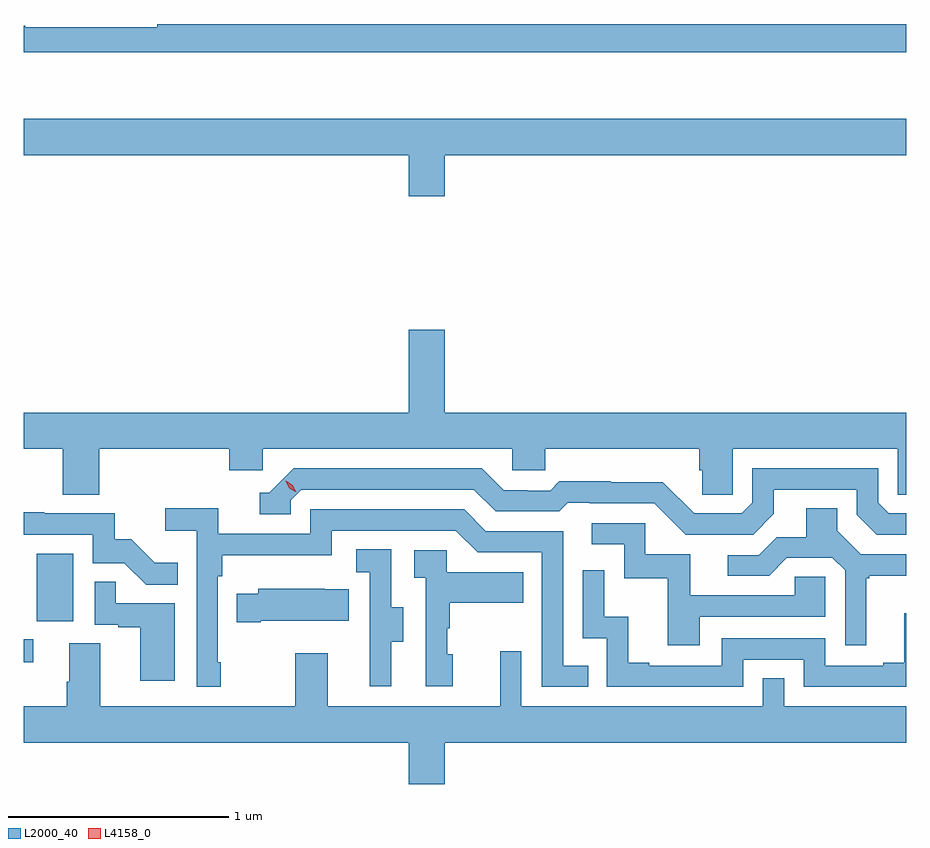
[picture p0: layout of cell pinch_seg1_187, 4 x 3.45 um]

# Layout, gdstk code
import gdstk
lib = gdstk.Library(unit=1e-6, precision=1e-09)
def R(c, l, rs):  # rectangles x0, y0, x1, y1
    for r in rs: c.add(gdstk.rectangle(r[:2], r[2:], *l))
def P(c, l, *ps):  # polygons
    for p in ps: c.add(gdstk.Polygon(p, *l))
L2000_40 = (2000, 40)
L4158_0 = (4158, 0)

pinch_seg1_187 = lib.new_cell('pinch_seg1_187')
R(pinch_seg1_187, L2000_40, [(978.447,580.068,978.49,580.173), (978.506,580.254,978.67,580.561)])
P(pinch_seg1_187, L2000_40, [(982.447,582.962),(979.052,582.962),(979.052,582.947),(978.452,582.947),(978.452,582.955),(978.447,582.955),(978.447,582.834),(982.447,582.834)],
  [(980.356,582.368),(982.447,582.368),(982.447,582.532),(978.447,582.532),(978.447,582.368),(980.192,582.368),(980.192,582.18),(980.356,582.18)],
  [(978.788,581.036),(979.379,581.036),(979.379,580.938),(979.53,580.938),(979.53,581.036),(980.661,581.036),(980.661,580.938),(980.811,580.938),(980.811,581.036),(981.509,581.036),(981.509,580.938),(981.523,580.938),(981.523,580.828),(981.66,580.828),(981.66,581.036),(982.41,581.036),(982.41,580.828),(982.447,580.828),(982.447,581.2),(980.356,581.2),(980.356,581.575),(980.192,581.575),(980.192,581.2),(978.447,581.2),(978.447,581.036),(978.623,581.036),(978.623,580.828),(978.788,580.828)],
  [(981.847,580.741),(981.847,580.851),(982.224,580.851),(982.224,580.737),(982.314,580.647),(982.447,580.647),(982.447,580.743),(982.368,580.743),(982.32,580.791),(982.32,580.947),(981.75,580.947),(981.75,580.791),(981.702,580.743),(981.486,580.743),(981.344,580.885),(981.108,580.885),(981.108,580.888),(980.875,580.888),(980.833,580.845),(980.73,580.845),(980.73,580.848),(980.623,580.848),(980.524,580.947),(979.671,580.947),(979.56,580.836),(979.517,580.836),(979.517,580.74),(979.656,580.74),(979.656,580.803),(979.704,580.851),(980.487,580.851),(980.586,580.752),(980.875,580.752),(980.914,580.791),(981.013,580.791),(981.013,580.788),(981.306,580.788),(981.447,580.647),(981.753,580.647)],
  [(982.267,580.449),(982.279,580.449),(982.279,580.46),(982.447,580.46),(982.447,580.557),(982.242,580.557),(982.135,580.664),(982.135,580.766),(981.995,580.766),(981.995,580.634),(981.86,580.634),(981.78,580.554),(981.639,580.554),(981.639,580.461),(981.826,580.461),(981.907,580.542),(982.113,580.542),(982.17,580.485),(982.17,580.146),(982.267,580.146)],
  [(979.339,580.069),(979.326,580.069),(979.326,580.457),(979.346,580.457),(979.346,580.553),(979.842,580.553),(979.842,580.665),(980.406,580.665),(980.505,580.566),(980.796,580.566),(980.796,579.957),(981.005,579.957),(981.005,580.053),(980.892,580.053),(980.892,580.662),(980.542,580.662),(980.443,580.761),(979.746,580.761),(979.746,580.65),(979.328,580.65),(979.328,580.766),(979.089,580.766),(979.089,580.664),(979.23,580.664),(979.23,579.957),(979.339,579.957)],
  [(979.145,580.519),(979.041,580.519),(978.934,580.626),(978.858,580.626),(978.858,580.743),(978.539,580.743),(978.539,580.748),(978.447,580.748),(978.447,580.647),(978.759,580.647),(978.759,580.518),(978.903,580.518),(979.001,580.42),(979.145,580.42)],
  [(981.511,580.275),(982.08,580.275),(982.08,580.455),(981.943,580.455),(981.943,580.371),(981.469,580.371),(981.469,580.557),(981.264,580.557),(981.264,580.698),(981.021,580.698),(981.021,580.602),(981.168,580.602),(981.168,580.449),(981.367,580.449),(981.367,580.146),(981.511,580.146)],
  [(980.113,580.162),(980.167,580.162),(980.167,580.317),(980.112,580.317),(980.112,580.58),(979.953,580.58),(979.953,580.477),(980.016,580.477),(980.016,580.173),(980.015,580.173),(980.015,579.96),(980.113,579.96)],
  [(980.392,580.104),(980.367,580.104),(980.367,580.223),(980.377,580.223),(980.377,580.337),(980.711,580.337),(980.711,580.477),(980.364,580.477),(980.364,580.575),(980.217,580.575),(980.217,580.451),(980.268,580.451),(980.268,579.96),(980.392,579.96)],
  [(981.708,580.08),(981.984,580.08),(981.984,579.957),(982.447,579.957),(982.447,580.291),(982.439,580.291),(982.439,580.066),(982.343,580.066),(982.343,580.053),(982.08,580.053),(982.08,580.176),(981.612,580.176),(981.612,580.053),(981.283,580.053),(981.283,580.066),(981.188,580.066),(981.188,580.274),(981.078,580.274),(981.078,580.486),(980.982,580.486),(980.982,580.176),(981.09,580.176),(981.09,579.957),(981.708,579.957)],
  [(979.132,580.335),(978.863,580.335),(978.863,580.433),(978.768,580.433),(978.768,580.239),(978.875,580.239),(978.875,580.227),(978.974,580.227),(978.974,579.984),(979.132,579.984)],
  [(979.522,580.256),(979.919,580.256),(979.919,580.399),(979.811,580.399),(979.811,580.402),(979.509,580.402),(979.509,580.378),(979.411,580.378),(979.411,580.249),(979.522,580.249)],
  [(980.356,579.704),(982.447,579.704),(982.447,579.868),(981.894,579.868),(981.894,579.995),(981.798,579.995),(981.798,579.868),(980.703,579.868),(980.703,580.117),(980.606,580.117),(980.606,579.868),(979.825,579.868),(979.825,580.108),(979.678,580.108),(979.678,579.868),(978.793,579.868),(978.793,580.154),(978.653,580.154),(978.653,579.98),(978.641,579.98),(978.641,579.868),(978.447,579.868),(978.447,579.704),(980.192,579.704),(980.192,579.516),(980.356,579.516)])
P(pinch_seg1_187, L4158_0, [(979.681,580.838),(979.65,580.858),(979.635,580.891),(979.635,580.891),(979.635,580.891),(979.666,580.871),(979.681,580.838),(979.681,580.838)])

lib.write_gds('pinch_seg1_187.gds')
